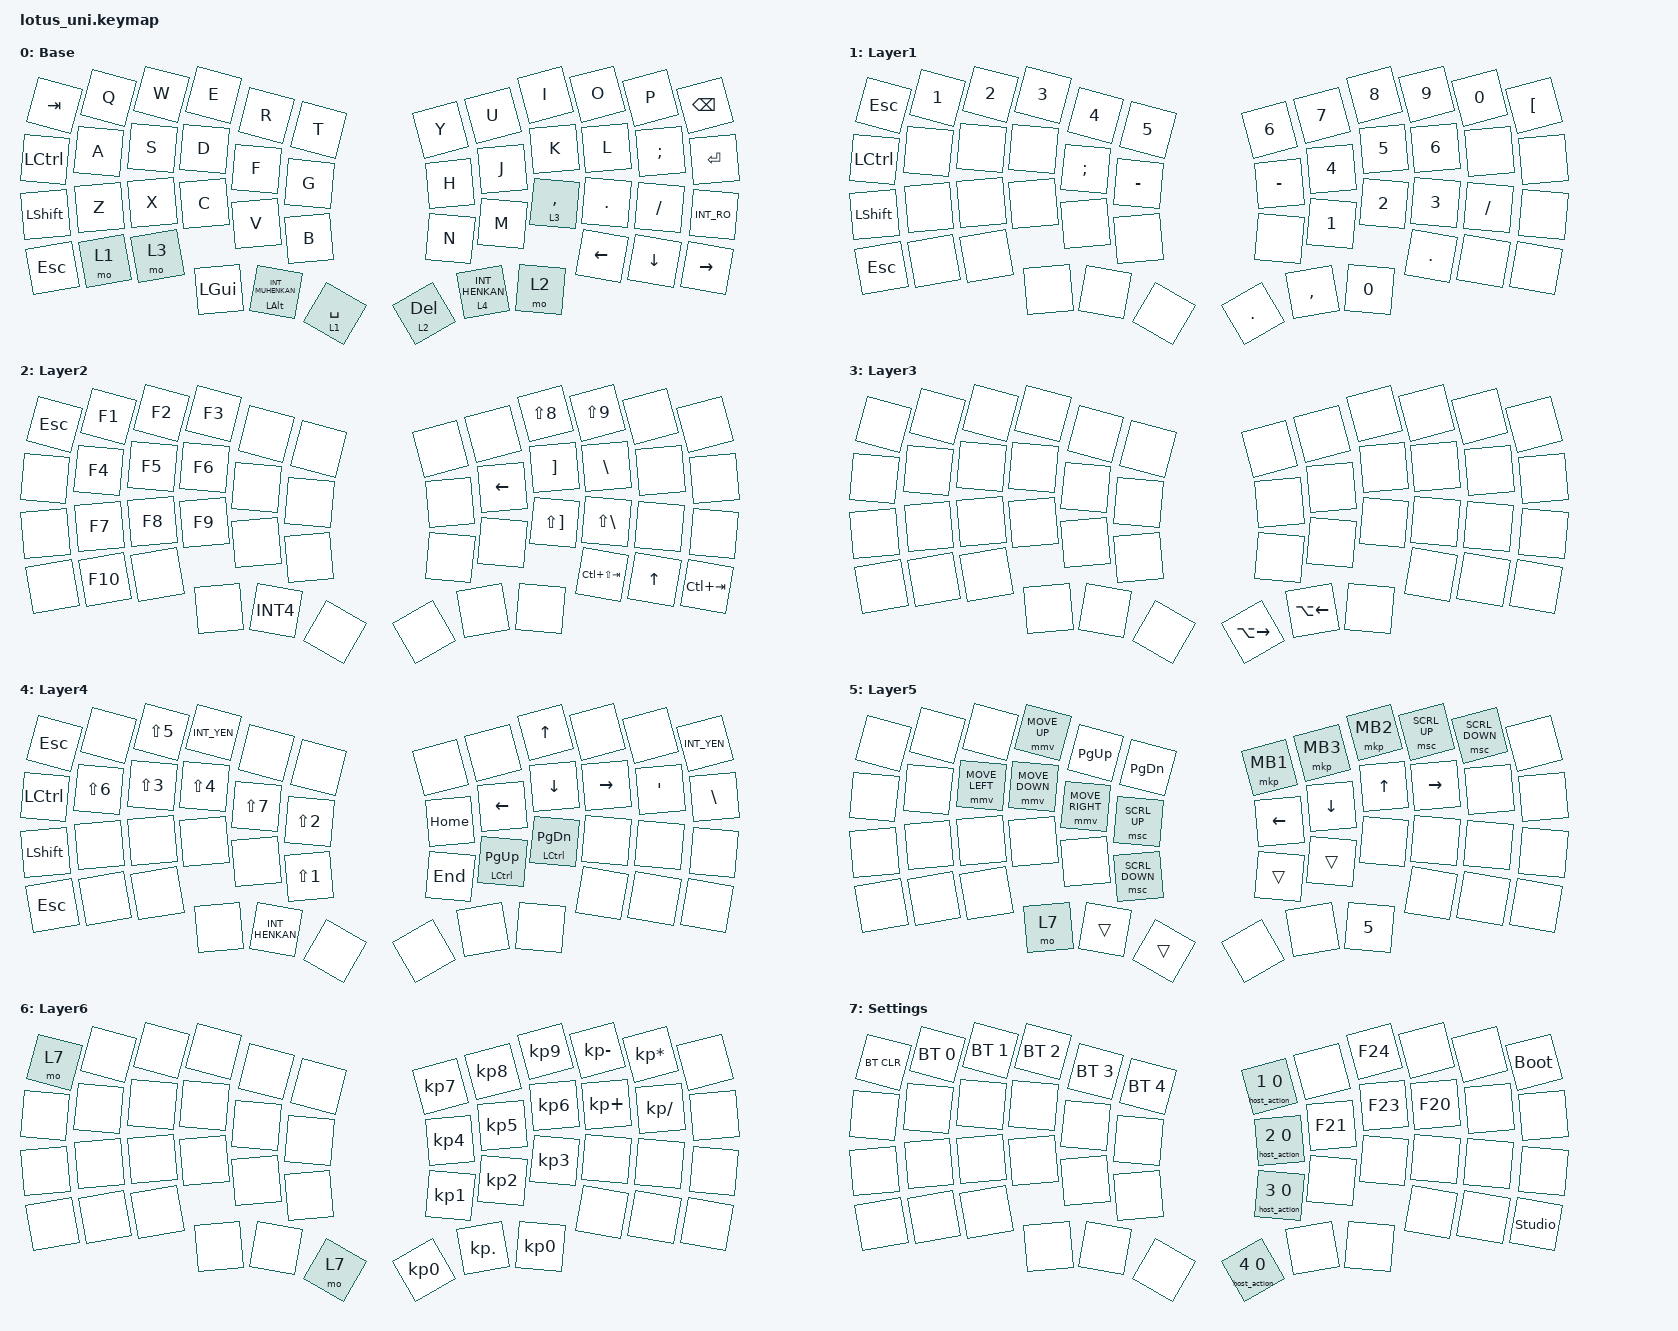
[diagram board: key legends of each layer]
/*
 * Copyright (c) 2020 The ZMK Contributors
 *
 * SPDX-License-Identifier: MIT
 */

#include <behaviors.dtsi>
#include <dt-bindings/zmk/bt.h>
#include <dt-bindings/zmk/keys.h>
#include <dt-bindings/zmk/pointing.h>
#include <behaviors/host_action.dtsi>

/ {
    behaviors {
        lt: layer_tap {
            compatible = "zmk,behavior-hold-tap";
            #binding-cells = <2>;
            bindings = <&mo>, <&kp>;

            flavor = "hold-preferred";
            tapping-term-ms = <250>;
            quick-tap-ms = <200>;
        };
    };

    combos {
        compatible = "zmk,combos";

        Settings {
            bindings = <&mo 7>;
            key-positions = <36 37>;
        };
    };

    keymap {
        compatible = "zmk,keymap";

        default_layer {
            display-name = "Base";
            bindings = <
                &kp TAB     &kp Q  &kp W  &kp E    &kp R              &kp T        &kp Y      &kp U    &kp I        &kp O    &kp P     &kp BSPC
                &kp LCTRL   &kp A  &kp S  &kp D    &kp F              &kp G        &kp H      &kp J    &kp K        &kp L    &kp SEMI  &kp ENTER
                &kp LSHIFT  &kp Z  &kp X  &kp C    &kp V              &kp B        &kp N      &kp M    &lt 3 COMMA  &kp DOT  &kp SLASH &kp INT_RO
                &kp ESC     &mo 1  &mo 3  &kp LGUI &mt LALT INT_MUHENKAN &lt 1 SPACE  &lt 2 DEL  &lt 4 INT_HENKAN   &mo  2   &kp LEFT  &kp DOWN  &kp RIGHT
            >;
        };

        layer_1 {
            display-name = "Layer1";
            bindings = <
                &kp ESC     &kp N1  &kp N2  &kp N3  &kp N4    &kp N5       &kp N6    &kp N7    &kp N8  &kp N9   &kp N0    &kp LBKT
                &kp LCTRL   &none   &none   &none   &kp SEMI  &kp MINUS    &kp MINUS &kp N4    &kp N5  &kp N6   &none     &none
                &kp LSHIFT  &none   &none   &none   &none     &none        &none     &kp N1    &kp N2  &kp N3   &kp SLASH &none
                &kp ESC     &none   &none   &none   &none     &none        &kp DOT   &kp COMMA &kp N0  &kp DOT  &none     &none
            >;
        };

        layer_2 {
            display-name = "Layer2";
            bindings = <
                &kp ESC  &kp F1   &kp F2  &kp F3  &none    &none     &none  &none    &kp LS(N8)   &kp LS(N9)      &none  &none
                &none    &kp F4   &kp F5  &kp F6  &none    &none     &none  &kp LEFT &kp RBKT     &kp BACKSLASH   &none  &none
                &none    &kp F7   &kp F8  &kp F9  &none    &none     &none  &none    &kp LS(RBKT) &kp LS(BSLH)    &none  &none
                &none    &kp F10  &none   &none   &kp INT4 &none     &none  &none    &none        &kp LC(LS(TAB)) &kp UP &kp LC(TAB)
            >;
        };

        layer_3 {
            display-name = "Layer3";
            bindings = <
                &none  &none  &none  &none  &none  &none     &none  &none  &none  &none  &none  &none
                &none  &none  &none  &none  &none  &none     &none  &none  &none  &none  &none  &none
                &none  &none  &none  &none  &none  &none     &none  &none  &none  &none  &none  &none
                &none  &none  &none  &none  &none  &none     &kp LA(RIGHT)  &kp LA(LEFT)  &none  &none  &none  &none
            >;
        };

        layer_4 {
            display-name = "Layer4";
            bindings = <
                &kp ESC     &none       &kp LS(N5)  &kp INT_YEN  &none          &none         &none     &none           &kp UP          &none      &none     &kp INT_YEN
                &kp LCTRL   &kp LS(N6)  &kp LS(N3)  &kp LS(N4)   &kp LS(N7)     &kp LS(N2)    &kp HOME  &kp LEFT        &kp DOWN        &kp RIGHT  &kp APOS  &kp BACKSLASH
                &kp LSHIFT  &none       &none       &none        &none          &kp LS(N1)    &kp END   &mt LCTRL PG_UP &mt LCTRL PG_DN &none      &none     &none
                &kp ESC     &none       &none       &none        &kp INT_HENKAN &none         &none     &none           &none           &none      &none     &none
            >;
        };

        layer_5 {
            display-name = "Layer5";
            bindings = <
                &none  &none  &none          &mmv MOVE_UP    &kp PAGE_UP    &kp PAGE_DOWN   &mkp MB1  &mkp MB3  &mkp MB2  &msc SCRL_UP  &msc SCRL_DOWN  &none
                &none  &none  &mmv MOVE_LEFT &mmv MOVE_DOWN  &mmv MOVE_RIGHT &msc SCRL_UP   &kp LEFT  &kp DOWN  &kp UP    &kp RIGHT     &none           &none
                &none  &none  &none          &none           &none          &msc SCRL_DOWN  &trans    &trans    &none     &none         &none           &none
                &none  &none  &none          &mo 7           &trans         &trans          &none     &none     &kp N5    &none         &none           &none
            >;
        };

        layer_6 {
            display-name = "Layer6";
            bindings = <
                &mo 7  &none  &none  &none  &none  &none     &kp KP_N7       &kp KP_N8       &kp KP_N9  &kp KP_MINUS  &kp KP_MULTIPLY  &none
                &none  &none  &none  &none  &none  &none     &kp KP_NUMBER_4 &kp KP_NUMBER_5 &kp KP_N6  &kp KP_PLUS   &kp KP_DIVIDE    &none
                &none  &none  &none  &none  &none  &none     &kp KP_NUMBER_1 &kp KP_NUMBER_2 &kp KP_N3  &none         &none            &none
                &none  &none  &none  &none  &none  &mo 7     &kp KP_N0       &kp KP_DOT      &kp KP_N0  &none         &none            &none
            >;
        };

        layer_7 {
            display-name = "Settings";
            bindings = <
                &bt BT_CLR  &bt BT_SEL 0  &bt BT_SEL 1  &bt BT_SEL 2  &bt BT_SEL 3  &bt BT_SEL 4    &host_action 1 0        &none    &kp F24  &none    &none  &bootloader
                &none       &none         &none         &none         &none         &none           &host_action 2 0        &kp F21  &kp F23  &kp F20  &none  &none
                &none       &none         &none         &none         &none         &none           &host_action 3 0        &none    &none    &none    &none  &none
                &none       &none         &none         &none         &none         &none           &host_action 4 0        &none    &none    &none    &none  &studio_unlock
            >;
        };
    };
};
